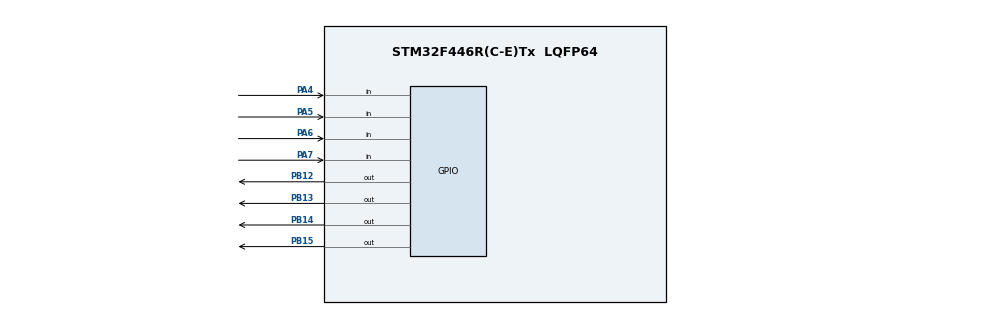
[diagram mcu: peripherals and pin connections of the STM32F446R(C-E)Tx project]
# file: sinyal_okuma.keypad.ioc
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Mcu.Family=STM32F4
Mcu.Name=STM32F446R(C-E)Tx
Mcu.Package=LQFP64
NVIC.PriorityGroup=NVIC_PRIORITYGROUP_4
PA13.Mode=Serial_Wire
PA13.Signal=SYS_JTMS-SWDIO
PA14.Mode=Serial_Wire
PA14.Signal=SYS_JTCK-SWCLK
PA4.Signal=GPIO_Input
PA5.Signal=GPIO_Input
PA6.Signal=GPIO_Input
PA7.Signal=GPIO_Input
PB12.Signal=GPIO_Output
PB13.Signal=GPIO_Output
PB14.Signal=GPIO_Output
PB15.Signal=GPIO_Output
ProjectManager.HeapSize=0x200
ProjectManager.StackSize=0x400
ProjectManager.TargetToolchain=STM32CubeIDE
RCC.CortexFreq_Value=16000000
RCC.USBFreq_Value=96000000
RCC.VCOOutputFreq_Value=192000000
board=custom

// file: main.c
/* USER CODE BEGIN Header */
/**
  ******************************************************************************
  * @file           : main.c
  * @brief          : Main program body
  ******************************************************************************
  * @attention
  *
  * Copyright (c) 2023 STMicroelectronics.
  * All rights reserved.
  *
  * This software is licensed under terms that can be found in the LICENSE file
  * in the root directory of this software component.
  * If no LICENSE file comes with this software, it is provided AS-IS.
  *
  ******************************************************************************
  */
/* USER CODE END Header */
#include "main.h"

/* USER CODE BEGIN Includes */
#include "keypad.h"
#include <stdbool.h>
/* USER CODE END Includes */

/* USER CODE BEGIN PV */
bool myKeys[16];

char Key1, Key2, Key3, KeyA,
	 Key4, Key5, Key6, KeyB,
	 Key7, Key8, Key9, KeyC,
	 KeyY, Key0, KeyK, KeyD;

/* USER CODE END PV */

void SystemClock_Config(void);
static void MX_GPIO_Init(void);

int main(void)
{
  /* USER CODE BEGIN 1 */
	Keypad_WiresTypeDef myKeyPad;

	myKeyPad.IN0_Port=GPIOA;
	myKeyPad.IN1_Port=GPIOA;
	myKeyPad.IN2_Port=GPIOA;
	myKeyPad.IN3_Port=GPIOA;

	myKeyPad.OUT0_Port=GPIOB;
	myKeyPad.OUT1_Port=GPIOB;
	myKeyPad.OUT2_Port=GPIOB;
	myKeyPad.OUT3_Port=GPIOB;

	myKeyPad.IN0pin=GPIO_PIN_4;
	myKeyPad.IN1pin=GPIO_PIN_5;
	myKeyPad.IN2pin=GPIO_PIN_6;
	myKeyPad.IN3pin=GPIO_PIN_7;

	myKeyPad.OUT0pin=GPIO_PIN_12;
	myKeyPad.OUT1pin=GPIO_PIN_13;
	myKeyPad.OUT2pin=GPIO_PIN_14;
	myKeyPad.OUT3pin=GPIO_PIN_15;

  /* USER CODE END 1 */

  /* MCU Configuration--------------------------------------------------------*/

  /* Reset of all peripherals, Initializes the Flash interface and the Systick. */
  HAL_Init();

  /* Configure the system clock */
  SystemClock_Config();

  /* Initialize all configured peripherals */
  MX_GPIO_Init();
  /* USER CODE BEGIN 2 */
  Keypad4x4_Init(&myKeyPad);
  /* USER CODE END 2 */

  /* Infinite loop */
  while (1)
  {

    /* USER CODE BEGIN 3 */
	  Keypad4x4_ReadKeypad(myKeys);

	  Key1=myKeys[0];
	  Key2=myKeys[1];
	  Key3=myKeys[2];
	  KeyA=myKeys[3];
	  Key4=myKeys[4];
	  Key5=myKeys[5];
	  Key6=myKeys[6];
	  KeyB=myKeys[7];
	  Key7=myKeys[8];
	  Key8=myKeys[9];
	  Key9=myKeys[10];
	  KeyC=myKeys[11];
	  KeyY=myKeys[12];
	  Key0=myKeys[13];
	  KeyK=myKeys[14];
	  KeyD=myKeys[15];
  }
  /* USER CODE END 3 */
}

void SystemClock_Config(void)
{
  RCC_OscInitTypeDef RCC_OscInitStruct = {0};
  RCC_ClkInitTypeDef RCC_ClkInitStruct = {0};

  /** Configure the main internal regulator output voltage
  */
  __HAL_RCC_PWR_CLK_ENABLE();
  __HAL_PWR_VOLTAGESCALING_CONFIG(PWR_REGULATOR_VOLTAGE_SCALE3);

  /** Initializes the RCC Oscillators according to the specified parameters
  * in the RCC_OscInitTypeDef structure.
  */
  RCC_OscInitStruct.OscillatorType = RCC_OSCILLATORTYPE_HSI;
  RCC_OscInitStruct.HSIState = RCC_HSI_ON;
  RCC_OscInitStruct.HSICalibrationValue = RCC_HSICALIBRATION_DEFAULT;
  RCC_OscInitStruct.PLL.PLLState = RCC_PLL_NONE;
  if (HAL_RCC_OscConfig(&RCC_OscInitStruct) != HAL_OK)
  {
    Error_Handler();
  }

  /** Initializes the CPU, AHB and APB buses clocks
  */
  RCC_ClkInitStruct.ClockType = RCC_CLOCKTYPE_HCLK|RCC_CLOCKTYPE_SYSCLK
                              |RCC_CLOCKTYPE_PCLK1|RCC_CLOCKTYPE_PCLK2;
  RCC_ClkInitStruct.SYSCLKSource = RCC_SYSCLKSOURCE_HSI;
  RCC_ClkInitStruct.AHBCLKDivider = RCC_SYSCLK_DIV1;
  RCC_ClkInitStruct.APB1CLKDivider = RCC_HCLK_DIV1;
  RCC_ClkInitStruct.APB2CLKDivider = RCC_HCLK_DIV1;

  if (HAL_RCC_ClockConfig(&RCC_ClkInitStruct, FLASH_LATENCY_0) != HAL_OK)
  {
    Error_Handler();
  }
}

static void MX_GPIO_Init(void)
{
  GPIO_InitTypeDef GPIO_InitStruct = {0};

  /* GPIO Ports Clock Enable */
  __HAL_RCC_GPIOA_CLK_ENABLE();
  __HAL_RCC_GPIOB_CLK_ENABLE();

  /*Configure GPIO pin Output Level */
  HAL_GPIO_WritePin(GPIOB, GPIO_PIN_12|GPIO_PIN_13|GPIO_PIN_14|GPIO_PIN_15, GPIO_PIN_RESET);

  /*Configure GPIO pins : PA4 PA5 PA6 PA7 */
  GPIO_InitStruct.Pin = GPIO_PIN_4|GPIO_PIN_5|GPIO_PIN_6|GPIO_PIN_7;
  GPIO_InitStruct.Mode = GPIO_MODE_INPUT;
  GPIO_InitStruct.Pull = GPIO_NOPULL;
  HAL_GPIO_Init(GPIOA, &GPIO_InitStruct);

  /*Configure GPIO pins : PB12 PB13 PB14 PB15 */
  GPIO_InitStruct.Pin = GPIO_PIN_12|GPIO_PIN_13|GPIO_PIN_14|GPIO_PIN_15;
  GPIO_InitStruct.Mode = GPIO_MODE_OUTPUT_PP;
  GPIO_InitStruct.Pull = GPIO_NOPULL;
  GPIO_InitStruct.Speed = GPIO_SPEED_FREQ_LOW;
  HAL_GPIO_Init(GPIOB, &GPIO_InitStruct);

}

void Error_Handler(void)
{
  __disable_irq();
  while (1)
  {
  }
}
